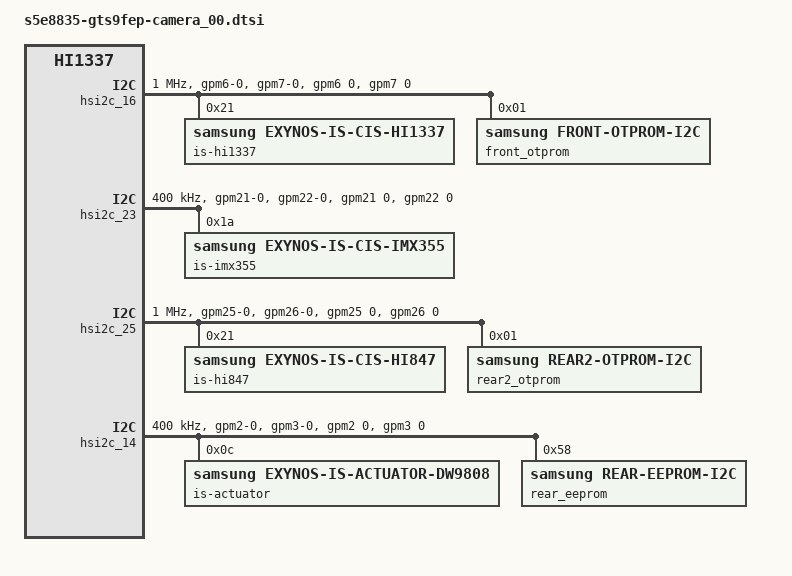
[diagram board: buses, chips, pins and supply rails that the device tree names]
/*
 * Samsung Exynos SoC series Pablo driver
 *
 * Copyright (c) 2023 Samsung Electronics Co., Ltd
 *
 * This program is free software; you can redistribute it and/or modify
 * it under the terms of the GNU General Public License version 2 as
 * published by the Free Software Foundation.
 */

#include <dt-bindings/camera/exynos_is_dt.h>
#include "module_imx355.dtsi"	/* Wide CAMERA */
#include "module_hi1337.dtsi"	/* Front CAMERA */
#include "module_hi847.dtsi"	/* UW CAMERA */


/ {
	fragment@camera {
		target-path = "/";
		__overlay__ {
			#address-cells = <2>;
			#size-cells = <1>;
			interrupt-parent = <&gic>;

			/* Wide CAMERA */
			is_sensor_imx355: is_sensor_imx355@34 {
				pinctrl-names = "pin0", "pin1", "pin2", "release";
				pinctrl-0 = <>;
				pinctrl-1 = <&sensor_mclk1_out>;
				pinctrl-2 = <&sensor_mclk1_fn>;
				pinctrl-3 = <>;

				/* board */
				position = <0>; /* Rear:0. Front:1, Tele:2 */
				id = <0>; /* is_sensor id */
				mclk_ch = <1>;
				sensor_i2c_ch = <0>; /* SENSOR_CONTROL_I2C0 */

				af {
					product_name = <24>; /* ACTUATOR_NAME_DW9808 */
					i2c_ch = <3>; /* SENSOR_CONTROL_I2C3 */
				};

				flash {
					product_name = <100>; /* FLADRV_NAME_NOTHING */
				};

				preprocessor {
					product_name = <100>; /* NOTHING */
				};

				power_seq {
					scenario_normal_on {
						20 { pname = "CAM_VDDIO_1P8"; pin = <PIN_OUTPUT 1 2000>; gpio = <&gpc11 0 0x1>; share = <SRT_ACQUIRE SHARED_PIN0 1>; };
					};
					scenario_normal_off {
						50 { pname = "CAM_VDDIO_1P8"; pin = <PIN_OUTPUT 0 0>; gpio = <&gpc11 0 0x1>; share = <SRT_RELEASE SHARED_PIN0 0>; };
					};
					scenario_vision_on {
						20 { pname = "CAM_VDDIO_1P8"; pin = <PIN_OUTPUT 1 2000>; gpio = <&gpc11 0 0x1>; share = <SRT_ACQUIRE SHARED_PIN0 1>; };
					};
					scenario_vision_off {
						50 { pname = "CAM_VDDIO_1P8"; pin = <PIN_OUTPUT 0 0>; gpio = <&gpc11 0 0x1>; share = <SRT_RELEASE SHARED_PIN0 0>; };
					};
					scenario_read_rom_on {
						20 { pname = "CAM_VDDIO_1P8"; pin = <PIN_OUTPUT 1 2000>; gpio = <&gpc11 0 0x1>; share = <SRT_ACQUIRE SHARED_PIN0 1>; };
					};
					scenario_read_rom_off {
						50 { pname = "CAM_VDDIO_1P8"; pin = <PIN_OUTPUT 0 0>; gpio = <&gpc11 0 0x1>; share = <SRT_RELEASE SHARED_PIN0 0>; };
					};
				};
			};

			/* FRONT CAMERA */
			is_sensor_hi1337: is_sensor_hi1337@42 {
				pinctrl-names = "pin0", "pin1", "pin2", "release";
				pinctrl-0 = <>;
				pinctrl-1 = <&sensor_mclk2_out>;
				pinctrl-2 = <&sensor_mclk2_fn>;
				pinctrl-3 = <>;

				/* board */
				position = <1>;	/* Rear:0. Front:1. Rear_sub:2. */
				id = <1>; /* is_sensor id */
				mclk_ch = <2>;
				sensor_i2c_ch = <1>; /* SENSOR_CONTROL_I2C1 */

				power_seq {
					scenario_normal_on {
						20 { pname = "CAM_VDDIO_1P8"; pin = <PIN_OUTPUT 1 2000>; gpio = <&gpc11 0 0x1>; share = <SRT_ACQUIRE SHARED_PIN0 1>; };
					};
					scenario_normal_off {
						90 { pname = "CAM_VDDIO_1P8"; pin = <PIN_OUTPUT 0 0>; gpio = <&gpc11 0 0x1>; share = <SRT_RELEASE SHARED_PIN0 0>; };
					};
					scenario_vision_on {
						20 { pname = "CAM_VDDIO_1P8"; pin = <PIN_OUTPUT 1 2000>; gpio = <&gpc11 0 0x1>; share = <SRT_ACQUIRE SHARED_PIN0 1>; };
					};
					scenario_vision_off {
						90 { pname = "CAM_VDDIO_1P8"; pin = <PIN_OUTPUT 0 0>; gpio = <&gpc11 0 0x1>; share = <SRT_RELEASE SHARED_PIN0 0>; };
					};
					scenario_read_rom_on {
						20 { pname = "CAM_VDDIO_1P8"; pin = <PIN_OUTPUT 1 2000>; gpio = <&gpc11 0 0x1>; share = <SRT_ACQUIRE SHARED_PIN0 1>; };
					};
					scenario_read_rom_off {
						90 { pname = "CAM_VDDIO_1P8"; pin = <PIN_OUTPUT 0 0>; gpio = <&gpc11 0 0x1>; share = <SRT_RELEASE SHARED_PIN0 0>; };
					};
				};
			};

			/* UW CAMERA */
			is_sensor_hi847: is_sensor_hi847@42 {
				pinctrl-names = "pin0", "pin1", "pin2", "release";
				pinctrl-0 = <>;
				pinctrl-1 = <&sensor_mclk0_out>;
				pinctrl-2 = <&sensor_mclk0_fn>;
				pinctrl-3 = <>;

				/* board */
				position = <4>;	/* Rear:0. Front:1. Rear_sub:2. */
				id = <4>; /* is_sensor id */
				mclk_ch = <0>;
				sensor_i2c_ch = <2>; /* SENSOR_CONTROL_I2C1 */

				power_seq {
					scenario_normal_on {
						20 { pname = "CAM_VDDIO_1P8"; pin = <PIN_OUTPUT 1 2000>; gpio = <&gpc11 0 0x1>; share = <SRT_ACQUIRE SHARED_PIN0 1>; };
					};
					scenario_normal_off {
						90 { pname = "CAM_VDDIO_1P8"; pin = <PIN_OUTPUT 0 0>; gpio = <&gpc11 0 0x1>; share = <SRT_RELEASE SHARED_PIN0 0>; };
					};
					scenario_vision_on {
						20 { pname = "CAM_VDDIO_1P8"; pin = <PIN_OUTPUT 1 2000>; gpio = <&gpc11 0 0x1>; share = <SRT_ACQUIRE SHARED_PIN0 1>; };
					};
					scenario_vision_off {
						90 { pname = "CAM_VDDIO_1P8"; pin = <PIN_OUTPUT 0 0>; gpio = <&gpc11 0 0x1>; share = <SRT_RELEASE SHARED_PIN0 0>; };
					};
					scenario_read_rom_on {
						20 { pname = "CAM_VDDIO_1P8"; pin = <PIN_OUTPUT 1 2000>; gpio = <&gpc11 0 0x1>; share = <SRT_ACQUIRE SHARED_PIN0 1>; };
					};
					scenario_read_rom_off {
						90 { pname = "CAM_VDDIO_1P8"; pin = <PIN_OUTPUT 0 0>; gpio = <&gpc11 0 0x1>; share = <SRT_RELEASE SHARED_PIN0 0>; };
					};
				};
			};

			/* Wide CAMERA */
			is_sensor0: is_sensor0@15030000 {
				#address-cells = <1>;
				#size-cells = <1>;
				scenario = <SENSOR_SCENARIO_NORMAL>;    /* Normal, Vision, OIS etc */
				id = <0>;
				csi_ch = <0>;
				status = "okay";
				use_cphy = <0>;

				interrupts = <0 INTREQ__CSIS0 IRQ_TYPE_LEVEL_HIGH>; /*MIPI-CSI0 */
				interrupt-names = "csi";
				phys = <&mipi_phy_csis0_m0s4s4s4s4_s22 0>;
				phy_setfile = <&dphy_setfile>;
				phy_tune_default_mode = "3264 1836 30";
			};

			/* FRONT CAMERA */
			is_sensor1: is_sensor1@15040000 {
				#address-cells = <1>;
				#size-cells = <1>;
				reg = <0x0 0x15060000 0x1000>, /* MIPI-CSI3 */
						<0x0 0x150F0000 0x10000>; /* PHY: M0S4S4S4S4S2S1 */
				scenario = <SENSOR_SCENARIO_NORMAL>;    /* Normal, Vision, OIS etc */
				id = <1>;
				csi_ch = <3>;
				status = "okay";
				use_cphy = <0>;

				interrupts = <0 INTREQ__CSIS3 IRQ_TYPE_LEVEL_HIGH>; /* MIPI-CSI3 */
				phys = <&mipi_phy_csis3_m0s4s4s4s4_s22 0>;
				phy_setfile = <&dphy_setfile>;
				phy_tune_default_mode = "4000 3000 30";
			};

			/* Macro CAMERA */
			is_sensor4: is_sensor4@15070000 {
				status = "disabled";
			};

			/* UW CAMERA */
			is_sensor2: is_sensor2@15050000 {
				#address-cells = <1>;
				#size-cells = <1>;
				reg = <0x0 0x15040000 0x1000>, /* MIPI-CSI1 */
					<0x0 0x150F0000 0x10000>; /* PHY: M0S4S4S4S4_S22 */
				scenario = <SENSOR_SCENARIO_NORMAL>;	/* Normal, Vision, OIS etc */
				id = <4>;
				csi_ch = <1>;
				status = "okay";

				interrupts = <0 INTREQ__CSIS1 IRQ_TYPE_LEVEL_HIGH>; /* MIPI-CSI1 */
				phys = <&mipi_phy_csis1_m0s4s4s4s4_s22 0>;
				phy_setfile = <&dphy_setfile>;
				phy_tune_default_mode = "3264 2448 30";
			};

			is_sensor3: is_sensor3@15060000 {
				status = "disabled";
			};
		}; /* end of __overlay__ */
	}; /* end of fragment */
}; /* end of root */

/***** reference symbol node *****/
/* GPIO_PERI */
&pinctrl_1 {
	/* FRONT i2c1 */
	hsi2c16_bus: hsi2c16-bus {
			samsung,pins = "gpm6-0", "gpm7-0";
			samsung,pin-function = <3>;
			samsung,pin-pud = <5>;
			samsung,pin-drv = <0>;
	};

	hsi2c16_bus_in: hsi2c16-bus-in {
			samsung,pins = "gpm6-0", "gpm7-0";
			samsung,pin-function = <0>;
			samsung,pin-pud = <1>;
			samsung,pin-drv = <0>;
	};

	/* REAR Wide : i2c0 */
	hsi2c23_bus: hsi2c23-bus {
			samsung,pins = "gpm21-0", "gpm22-0";
			samsung,pin-function = <2>;
			samsung,pin-pud = <3>;
			samsung,pin-drv = <0>;
	};


	hsi2c23_bus_in: hsi2c23-bus-in {
			samsung,pins = "gpm21-0", "gpm22-0";
			samsung,pin-function = <0>;
			samsung,pin-pud = <1>;
			samsung,pin-drv = <0>;
	};

	/* EEP/AF i2c7 */
	hsi2c14_bus: hsi2c14-bus {
			samsung,pins = "gpm2-0", "gpm3-0";
			samsung,pin-function = <3>;
			samsung,pin-pud = <3>;
			samsung,pin-drv = <0>;
	};

	hsi2c14_bus_in: hsi2c14-bus-in {
			samsung,pins = "gpm2-0", "gpm3-0";
			samsung,pin-function = <0>;
			samsung,pin-pud = <1>;
			samsung,pin-drv = <0>;
	};

	/* REAR UW : i2c0 */
	hsi2c25_bus: hsi2c25-bus {
			samsung,pins = "gpm25-0", "gpm26-0";
			samsung,pin-function = <2>;
			samsung,pin-pud = <5>;
			samsung,pin-drv = <0>;
	};

	hsi2c25_bus_in: hsi2c25-bus-in {
			samsung,pins = "gpm25-0", "gpm26-0";
			samsung,pin-function = <0>;
			samsung,pin-pud = <1>;
			samsung,pin-drv = <0>;
	};

};

&pinctrl_3 {
	/* Override mclk2 of front sensor to match MCLK Rise/Fall time to min 10ns */
	sensor_mclk2_out: sensor-mclk2-out {
		samsung,pins = "gpg0-4";	/* CIS_CLK2 : VTCAM_MCLK */
		samsung,pin-function = <1>;
		samsung,pin-pud = <1>;
		samsung,pin-drv = <2>;
	};

	sensor_mclk2_fn: sensor-mclk2-fn {
		samsung,pins = "gpg0-4";	/* CIS_CLK2 : VTCAM_MCLK */
		samsung,pin-function = <2>;
		samsung,pin-pud = <0>;
		samsung,pin-drv = <2>;
	};
};

&hsi2c_16 {
	#address-cells = <1>;
	#size-cells = <0>;
	gpios = <&gpm6 0 0 &gpm7 0 0>;
	status = "okay";
	clock-frequency = <1000000>;
	samsung,reset-before-trans;
	samsung,fast-plus-mode;

	pinctrl-names = "default","on_i2c","off_i2c";
	pinctrl-0 = <&hsi2c16_bus_in>;
	pinctrl-1 = <&hsi2c16_bus>;
	pinctrl-2 = <&hsi2c16_bus_in>;

	is-hi1337@42 {
		compatible = "samsung,exynos-is-cis-hi1337";
		sensor-module = <&is_sensor_hi1337>;
		reg = <0x21>; /* 1 bit right shift */
		id = <1>; /* matching is_sensor id */
		setfile = "setA";
		status = "okay";
	};

	front_otprom@42 { 
		compatible = "samsung,front-otprom-i2c";
		reg = <0x01>;

		rom_power_position = <1>;
		rom_size = <0x1AC0>;
		cal_map_es_version = <1>;
		camera_module_es_version = "A";
		/* skip_cal_loading; */

		/* TabS9_Front_OTP_Cal_Map_V901.001_20230127_for_QC_표준_Map.xlsx */
		/* 0 header */
		header_crc_check_list	= <0x0000 0x004B 0x004C>;
		/* 0 module */
		crc_check_list	= <0x0050 0x04C7 0x04C8>;
		/* Master */
		rom_header_version_start_addr	= <0x000A>;
		rom_header_cal_data_start_addr	= <0x0050>;
		rom_header_cal_map_ver_start_addr	= <0x0016>;
		rom_header_project_name_start_addr	= <0x1E>;
		rom_header_module_id_addr	= <0x002E>; /* 0x30 + reserved bytes */
		rom_header_sensor_id_addr	= <0x0038>;
		rom_awb_master_addr	= <0x0050>;

		/* standard cal */
		use_standard_cal;
		rom_standard_cal_start_addr	= <0x0000>;
		rom_standard_cal_end_addr	= <0x04C8>;
		rom_standard_cal_sec2lsi_end_addr	= <0x1ABF>;
		rom_awb_start_addr	= <0x0050>;
		rom_awb_end_addr	= <0x0057>;
		rom_shading_start_addr	= <0x005A>;
		rom_shading_end_addr	= <0x0452>;
		rom_awb_sec2lsi_start_addr	= <0x0050>;
		rom_awb_sec2lsi_end_addr	= <0x0057>;
		rom_awb_sec2lsi_checksum_addr	= <0x005C>;
		rom_awb_sec2lsi_checksum_len	= <0x000C>;
		rom_shading_sec2lsi_start_addr	= <0x0060>;
		rom_shading_sec2lsi_end_addr	= <0x1A47>;
		rom_shading_sec2lsi_checksum_addr	= <0x1A4C>;
		rom_shading_sec2lsi_checksum_len	= <0x19EC>;
	};
};

&hsi2c_23 {
	#address-cells = <1>;
	#size-cells = <0>;
	gpios = <&gpm21 0 0 &gpm22 0 0>;
	status = "okay";
	clock-frequency = <400000>;
	samsung,reset-before-trans;

	pinctrl-names = "default","on_i2c","off_i2c";
	pinctrl-0 = <&hsi2c23_bus_in>;
	pinctrl-1 = <&hsi2c23_bus>;
	pinctrl-2 = <&hsi2c23_bus_in>;

	is-imx355@34 {
		compatible = "samsung,exynos-is-cis-imx355";
		sensor-module = <&is_sensor_imx355>;
		reg = <0x1A>; /* 1 bit right shift */
		id = <0>; /* matching is_sensor id */
		setfile = "setB";
		status = "okay";
		rev_reg = <0x0002 1>;
	};
};

&hsi2c_25 {
	#address-cells = <1>;
	#size-cells = <0>;
	gpios = <&gpm25 0 0 &gpm26 0 0>;
	status = "okay";
	clock-frequency = <1000000>;
	samsung,reset-before-trans;
	samsung,fast-plus-mode;

	pinctrl-names = "default","on_i2c","off_i2c";
	pinctrl-0 = <&hsi2c25_bus_in>;
	pinctrl-1 = <&hsi2c25_bus>;
	pinctrl-2 = <&hsi2c25_bus_in>;

	is-hi847@42 {
		compatible = "samsung,exynos-is-cis-hi847";
		sensor-module = <&is_sensor_hi847>;
		reg = <0x21>; /* 1 bit right shift */
		id = <4>; /* matching is_sensor id */
		setfile = "setA";
		status = "okay";
	};

	rear2_otprom@02 {
		compatible = "samsung,rear2-otprom-i2c";
		reg = <0x01>;

		rom_power_position = <4>;
		rom_size = <0x1AC0>;
		cal_map_es_version = <1>;
		camera_module_es_version = "A";
		/* skip_cal_loading; */

		/* TabS9_UW_OTP_Cal_Map_V801.001_20230216_for_QC_LSI_MTK_공용_Map.xlsx */
		/* 0 header */
		header_crc_check_list	= <0x0000 0x004B 0x004C>;
		/* 0 module */
		crc_check_list	= <0x0050 0x04C7 0x04C8>;
		/* Master */
		rom_header_version_start_addr	= <0x000A>;
		rom_header_cal_data_start_addr	= <0x0050>;
		rom_header_cal_map_ver_start_addr	= <0x0016>;
		rom_header_project_name_start_addr	= <0x001E>;
		rom_header_module_id_addr	= <0x002E>; /* 0x0028 + reserved bytes */
		rom_header_sensor_id_addr	= <0x0038>;
		rom_awb_master_addr	= <0x0050>;

		/* standard cal */
		use_standard_cal;
		rom_standard_cal_start_addr	= <0x0000>;
		rom_standard_cal_end_addr	= <0x04C8>;
		rom_standard_cal_sec2lsi_end_addr	= <0x1ABF>;
		rom_awb_start_addr	= <0x0050>;
		rom_awb_end_addr	= <0x0057>;
		rom_shading_start_addr	= <0x005A>;
		rom_shading_end_addr	= <0x0452>;
		rom_awb_sec2lsi_start_addr	= <0x0050>;
		rom_awb_sec2lsi_end_addr	= <0x0057>;
		rom_awb_sec2lsi_checksum_addr	= <0x005C>;
		rom_awb_sec2lsi_checksum_len	= <0x000C>;
		rom_shading_sec2lsi_start_addr	= <0x0060>;
		rom_shading_sec2lsi_end_addr	= <0x1A47>;
		rom_shading_sec2lsi_checksum_addr	= <0x1A4C>;
		rom_shading_sec2lsi_checksum_len	= <0x19EC>;
	};
};

&hsi2c_14 {
	#address-cells = <1>;
	#size-cells = <0>;
	gpios = <&gpm2 0 0 &gpm3 0 0>;
	status = "okay";
	clock-frequency = <400000>;
	samsung,reset-before-trans;

	pinctrl-names = "default","on_i2c","off_i2c";
	pinctrl-0 = <&hsi2c14_bus_in>;
	pinctrl-1 = <&hsi2c14_bus>;
	pinctrl-2 = <&hsi2c14_bus_in>;

	is-actuator@0C {
		compatible = "samsung,exynos-is-actuator-dw9808";
		sensor-module = <&is_sensor_imx355>;
		reg = <0x0C>;
		id = <0>; /* matching is_sensor id */
	};

	rear_eeprom@B0 {
		compatible = "samsung,rear-eeprom-i2c";
		reg = <0x58>;

		rom_power_position = <0>;
		rom_size = <0x1E90>;
		cal_map_es_version = <1>;
		camera_module_es_version = "A";
		/* skip_cal_loading; */

		/* 20221212_TabS9FE+_CAM1(Wide_8M_IMX355)_EEPROM_Rear_Cal map V008.001_QC_LSI_MTK_공용_Map */

		/* 0 header */
		header_crc_check_list = <0x0000 0x00FB 0x00FC>;
		crc_check_list = < 0x0170 0x01EB 0x01EC
		0x01F0 0x026B 0x026C
		0x0270 0x028B 0x028C
		0x0290 0x068B 0x068C >;

		/* Master */
		rom_header_version_start_addr = <0x0056>;
		rom_header_cal_data_start_addr = <0x0170>;
		rom_header_cal_map_ver_start_addr = <0x0088>;
		rom_header_project_name_start_addr = <0x90>;
		rom_header_module_id_addr = <0x00AE>; /* 0xA8 + Reserved Bytes */
		rom_header_sensor_id_addr = <0x00B8>;
		rom_awb_master_addr = <0x0270>;
		rom_af_cal_addr = <0x17C 0x0170>; /* Near Far Mid1 ... Mid7 */

		/* standard cal */
		use_standard_cal;
		rom_standard_cal_start_addr = <0x0170>;
		rom_standard_cal_end_addr = <0x068F>;
		rom_standard_cal_sec2lsi_end_addr = <0x1C6F>;
		rom_awb_start_addr = <0x0270>;
		rom_awb_end_addr = <0x0277>;
		rom_shading_start_addr = <0x0290>;
		rom_shading_end_addr = <0x0688>;
		rom_awb_sec2lsi_start_addr = <0x0270>;
		rom_awb_sec2lsi_end_addr = <0x0277>;
		rom_awb_sec2lsi_checksum_addr = <0x027C>;
		rom_awb_sec2lsi_checksum_len = <0xC>;
		rom_shading_sec2lsi_start_addr = <0x0280>;
		rom_shading_sec2lsi_end_addr = <0x1C67>;
		rom_shading_sec2lsi_checksum_addr = <0x1C6C>;
		rom_shading_sec2lsi_checksum_len = <0x19EC>;
	};
};

&exynos_is {

	vender {
		use_module_check;
		//use_ois;
		check_sensor_vendor;
		ois_sensor_index = <0>;
		aperture_sensor_index = <0>;
		mcu_sensor_index = <0>;
		skip_cal_loading;

		is_vendor_sensor_count = <3>;
		max_supported_camera = <3>;
		supported_cameraId = <0 3 58>;

		/*
		* Wide(0)
		* Front(1)
		* U Wide(2)
		* Front 80(3) - not available for factory
		* Front Secure(5) - not available for factory
		* DUAL_REAR_PORTRAIT_WIDE(23)
		* Bokeh(52)
		* Rear_UW(58)
		* Macro(60)
		*/

		/* sysfs camera id */
		max_camera_num = <3>;
		sensor_id { /* sensor position = <sensor_id> */
			0 = <128>;	/* IMX355 */
			1 = <224>;	/* HI1337 */
			4 = <217>;	/* HI847 */
		};

		camera_info0 {			/* 0 : sysfs rear */
			internal_id = <0>;	/* 0 : wide */
			isp = <0>;		/* 0 : INT, 1 : EXT, 2 : SOC */
			cal_memory = <2>;	/* 0 : N, 1 : FROM, 2 : EEPROM, 3 : OTP */
			read_version = <0>;	/* 0 : SYSFS, 1 : CAMON */
			core_voltage = <0>;	/* 0 : N, 1 : Y */
			upgrade = <0>;		/* 0 : N, 1 : SYSFS , 2 : CAMON */
			fw_write = <0>;		/* 0 : N, 1 : OS, 2 : SD, 3 : ALL */
			fw_dump = <0>;		/* 0 : N, 1 : Y */
			companion = <0>;	/* 0 : N, 1 : Y */
			ois = <0>;		/* 0 : N, 1 : Y */
			valid = <1>;		/* 0 : INVALID, 1 : VALID */
		};
		camera_info1 {			/* 1 : sysfs front */
			internal_id = <1>;	/* 1 : front master */
			isp = <0>;		/* 0 : INT, 1 : EXT, 2 : SOC */
			cal_memory = <3>;	/* 0 : N, 1 : FROM, 2 : EEPROM, 3 : OTP */
			read_version = <0>;	/* 0 : SYSFS, 1 : CAMON */
			core_voltage = <0>;	/* 0 : N, 1 : Y */
			upgrade = <0>;		/* 0 : N, 1 : SYSFS, 2 : CAMON */
			fw_write = <0>;		/* 0 : N, 1 : OS, 2 : SD, 3 : ALL */
			fw_dump = <0>;		/* 0 : N, 1 : Y */
			companion = <0>;	/* 0 : N, 1 : Y */
			ois = <0>;		/* 0 : N, 1 : Y */
			valid = <1>;		/* 0 : INVALID, 1 : VALID */
		};
		camera_info2 {			/* 2 : sysfs rear2 */
			internal_id = <4>;	/* 2 : ultra wide */
			isp = <0>;		/* 0 : INT, 1 : EXT, 2 : SOC */
			cal_memory = <3>;	/* 0 : N, 1 : FROM, 2 : EEPROM, 3 : OTP */
			read_version = <0>;	/* 0 : SYSFS, 1 : CAMON */
			core_voltage = <0>;	/* 0 : N, 1 : Y */
			upgrade = <0>;		/* 0 : N, 1 : SYSFS, 2 : CAMON */
			fw_write = <0>;		/* 0 : N, 1 : OS, 2 : SD, 3 : ALL */
			fw_dump = <0>;		/* 0 : N, 1 : Y */
			companion = <0>;	/* 0 : N, 1 : Y */
			ois = <0>;		/* 0 : N, 1 : Y */
			valid = <1>;		/* 0 : INVALID, 1 : VALID */
		};
	};

	is_dvfs {
		#define CPU_CL0	"0-5"
		#define CPU_CL1	"6-7"
		#define CPU_ALL	"0-7"

		table0 {
			desc = "dvfs table v0.2";

			default_csis = <1>;
			default_cam = <1>;
			default_isp = <1>;
			default_m2m = <1>;
			default_mif = <1>;
			default_cpu = CPU_CL0;

			rear_single_photo_isp = <6>;
			rear_single_photo_mif = <3>;
			rear_single_photo_cpu = CPU_CL0;

			rear_single_capture_cam = <1>;
			rear_single_capture_isp = <1>;
			rear_single_capture_mif = <0>;
			rear_single_capture_cpu = CPU_CL0;

			rear_single_video_hd30_isp = <5>;
			rear_single_video_hd30_mif = <3>;
			rear_single_video_hd30_cpu = CPU_CL0;

			rear_single_video_fhd30_isp = <5>;
			rear_single_video_fhd30_mif = <3>;
			rear_single_video_fhd30_cpu = CPU_CL0;

			rear_single_video_uhd30_cam = <3>;
			rear_single_video_uhd30_isp = <3>;
			rear_single_video_uhd30_mif = <0>;
			rear_single_video_uhd30_cpu = CPU_CL0;

			rear_single_fastae_cam = <1>;
			rear_single_fastae_csis = <1>;
			rear_single_fastae_isp = <1>;
			rear_single_fastae_m2m = <1>;
			rear_single_fastae_mif = <1>;
			rear_single_fastae_cpu = CPU_CL0;

			rear_single_vt_isp = <6>;
			rear_single_vt_mif = <3>;
			rear_single_vt_cpu = CPU_CL0;

			front_single_photo_full_m2m = <4>;

			front_single_photo_isp = <6>;
			front_single_photo_m2m = <3>;
			front_single_photo_mif = <3>;
			front_single_photo_cpu = CPU_CL0;

			front_single_capture_cam = <1>;
			front_single_capture_isp = <1>;
			front_single_capture_m2m = <3>;
			front_single_capture_mif = <0>;
			front_single_capture_cpu = CPU_CL0;

			front_single_video_hd30_isp = <5>;
			front_single_video_hd30_m2m = <3>;
			front_single_video_hd30_mif = <3>;
			front_single_video_hd30_cpu = CPU_CL0;

			front_single_video_fhd30_isp = <5>;
			front_single_video_fhd30_m2m = <3>;
			front_single_video_fhd30_mif = <3>;
			front_single_video_fhd30_cpu = CPU_CL0;

			front_single_video_uhd30_isp = <3>;
			front_single_video_uhd30_m2m = <3>;
			front_single_video_uhd30_mif = <0>;
			front_single_video_uhd30_cpu = CPU_CL0;

			front_single_fastae_cam = <1>;
			front_single_fastae_csis = <1>;
			front_single_fastae_isp = <1>;
			front_single_fastae_m2m = <1>;
			front_single_fastae_mif = <1>;
			front_single_fastae_cpu = CPU_CL0;

			front_single_vt_isp = <6>;
			front_single_vt_m2m = <3>;
			front_single_vt_mif = <3>;
			front_single_vt_cpu = CPU_CL0;

			pip_dual_photo_isp = <5>;
			pip_dual_photo_mif = <3>;
			pip_dual_photo_cpu = CPU_CL0;

			pip_dual_capture_cam = <0>;
			pip_dual_capture_isp = <1>;
			pip_dual_capture_m2m = <1>;
			pip_dual_capture_mif = <3>;
			pip_dual_capture_cpu = CPU_CL0;

			pip_dual_video_fhd30_isp = <1>;
			pip_dual_video_fhd30_mif = <3>;
			pip_dual_video_fhd30_cpu = CPU_CL0;

			sensor_only_rear_single_cam = <1>;
			sensor_only_rear_single_csis = <1>;
			sensor_only_rear_single_isp = <1>;
			sensor_only_rear_single_m2m = <1>;
			sensor_only_rear_single_mif = <1>;
			sensor_only_rear_single_cpu = CPU_CL0;

			sensor_only_front_cam = <1>;
			sensor_only_front_csis = <1>;
			sensor_only_front_isp = <1>;
			sensor_only_front_m2m = <1>;
			sensor_only_front_mif = <1>;
			sensor_only_front_cpu = CPU_CL0;

			throttling_cam = <0>;
			throttling_csis = <0>;
			throttling_isp = <0>;
			throttling_m2m = <0>;
			throttling_mif = <0>;
			throttling_hpg = <0>;
			throttling_cpu = CPU_CL0;

			max_cam = <1>;
			max_csis = <1>;
			max_isp = <1>;
			max_m2m = <1>;
			max_mif = <1>;
			max_cpu = CPU_CL0;
		};
	};
};
